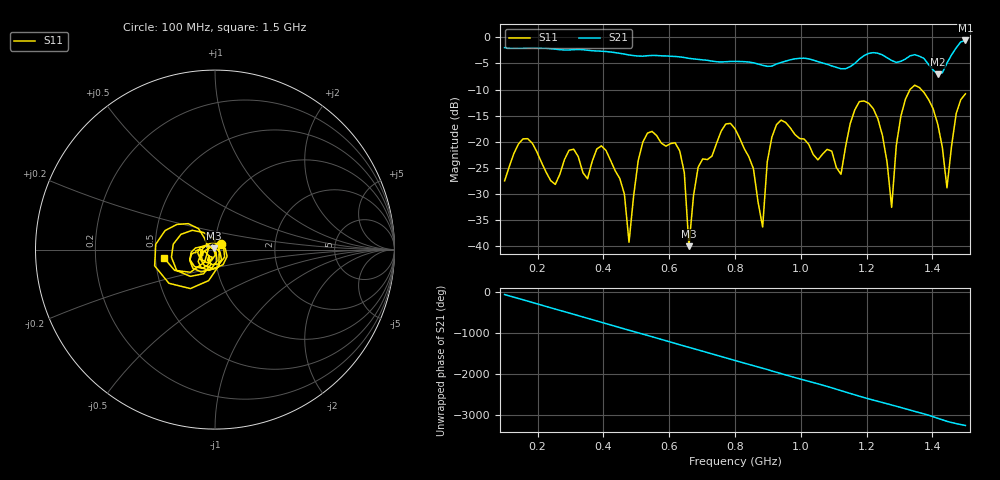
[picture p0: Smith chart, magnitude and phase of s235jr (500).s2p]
! NanoVNA-App
! Date: 2025-09-25 15:08:03
! Start: 100MHz Stop: 1,5GHz Points: 101
! S-Parameter data: F S11 S21 S12 S22
# Hz S RI R 50
!  Frequency  S11_Real  S11_Imag  S21_Real  S21_Imag  S12_Real  S12_Imag  S22_Real  S22_Imag
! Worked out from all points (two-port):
!   101 points, 100 MHz to 1.5 GHz, reference 50 ohm
!   highest |S21| = -0.60 dB at 1.5 GHz (marker M1); lowest = -7.0 dB at 1.416 GHz (marker M2)
!   |S21| within 3 dB of the highest: start of sweep to 514 MHz; 522.3 MHz to 598.2 MHz (75.92 MHz wide, 13.6 % of centre) (the widest 2 of 5)
!   lowest |S11| = -40.0 dB at 660 MHz (marker M3), VSWR 1.02, Z = 49.2 + j0.646 ohm
!   |S11| at or under -10 dB: start of sweep to 1.332 GHz; 1.366 GHz to end of sweep
!   S12 and S22 are empty: the file has one direction only
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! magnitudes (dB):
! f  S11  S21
! 100 MHz  -27.5  -2.0
! 156 MHz  -19.4  -2.0
! 338 MHz  -25.9  -2.4
! 408 MHz  -21.6  -2.7
! 478 MHz  -39.2  -3.4
! 520 MHz  -20.0  -3.6
! 576 MHz  -20.2  -3.5
! 632 MHz  -21.7  -3.7
! 660 MHz  -40.0  -4.0
! 688 MHz  -24.8  -4.2
! 800 MHz  -17.5  -4.6
! 884 MHz  -36.3  -5.3
! 926 MHz  -16.7  -5.1
! 1.038 GHz  -22.4  -4.4
! 1.122 GHz  -26.2  -6.0
! 1.206 GHz  -12.6  -3.1
! 1.276 GHz  -32.5  -4.4
! 1.29 GHz  -20.7  -4.8
! 1.332 GHz  -9.9  -3.5
! 1.416 GHz  -16.6  -7.0
! 1.444 GHz  -28.8  -4.9
! 1.5 GHz  -10.8  -0.6
